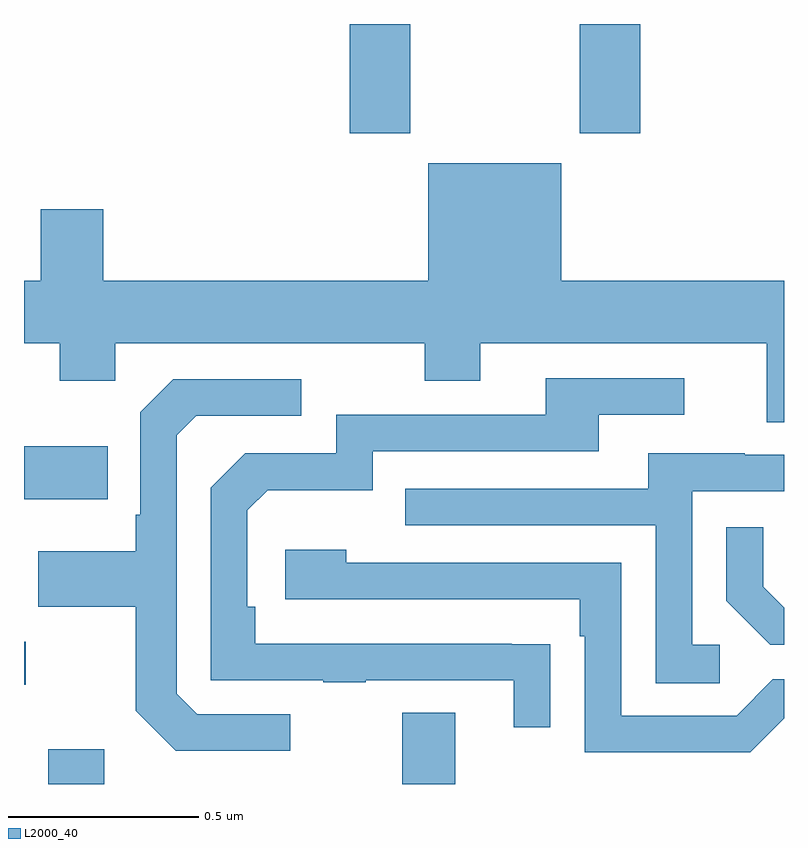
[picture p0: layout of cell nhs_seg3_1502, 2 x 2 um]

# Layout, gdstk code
import gdstk
lib = gdstk.Library(unit=1e-6, precision=1e-09)
def R(c, l, rs):  # rectangles x0, y0, x1, y1
    for r in rs: c.add(gdstk.rectangle(r[:2], r[2:], *l))
def P(c, l, *ps):  # polygons
    for p in ps: c.add(gdstk.Polygon(p, *l))
L2000_40 = (2000, 40)

nhs_seg3_1502 = lib.new_cell('nhs_seg3_1502')
R(nhs_seg3_1502, L2000_40, [(129.064,722.4,129.211,722.491), (129.995,722.4,130.135,722.587), (129,722.661,129.004,722.774), (129,723.149,129.221,723.289), (129.857,724.113,130.017,724.4), (130.462,724.113,130.622,724.4)])
P(nhs_seg3_1502, L2000_40, [(131,723.724),(130.414,723.724),(130.414,724.033),(130.064,724.033),(130.064,723.724),(129.208,723.724),(129.208,723.913),(129.044,723.913),(129.044,723.724),(129,723.724),(129,723.56),(129.094,723.56),(129.094,723.461),(129.24,723.461),(129.24,723.56),(130.054,723.56),(130.054,723.461),(130.201,723.461),(130.201,723.56),(130.955,723.56),(130.955,723.352),(131,723.352)],
  [(130.385,722.768),(130.283,722.768),(130.283,722.769),(129.608,722.769),(129.608,722.866),(129.588,722.866),(129.588,723.12),(129.641,723.173),(129.918,723.173),(129.918,723.276),(130.513,723.276),(130.513,723.372),(130.738,723.372),(130.738,723.468),(130.373,723.468),(130.373,723.372),(129.822,723.372),(129.822,723.27),(129.582,723.27),(129.492,723.18),(129.492,722.673),(129.787,722.673),(129.787,722.668),(129.899,722.668),(129.899,722.673),(130.289,722.673),(130.289,722.55),(130.385,722.55)],
  [(129.7,722.583),(129.456,722.583),(129.402,722.637),(129.402,723.318),(129.453,723.369),(129.73,723.369),(129.73,723.465),(129.393,723.465),(129.306,723.378),(129.306,723.109),(129.294,723.109),(129.294,723.013),(129.037,723.013),(129.037,722.866),(129.294,722.866),(129.294,722.593),(129.399,722.487),(129.7,722.487)],
  [(130.831,722.766),(130.758,722.766),(130.758,723.171),(131,723.171),(131,723.267),(130.897,723.267),(130.897,723.271),(130.643,723.271),(130.643,723.177),(130.003,723.177),(130.003,723.081),(130.662,723.081),(130.662,722.665),(130.831,722.665)],
  [(131,722.864),(130.945,722.919),(130.945,723.076),(130.848,723.076),(130.848,722.882),(130.964,722.766),(131,722.766)],
  [(131,722.573),(131,722.676),(130.971,722.676),(130.875,722.58),(130.572,722.58),(130.572,722.982),(129.848,722.982),(129.848,723.016),(129.687,723.016),(129.687,722.886),(130.463,722.886),(130.463,722.789),(130.476,722.789),(130.476,722.484),(130.911,722.484)])

lib.write_gds('nhs_seg3_1502.gds')
